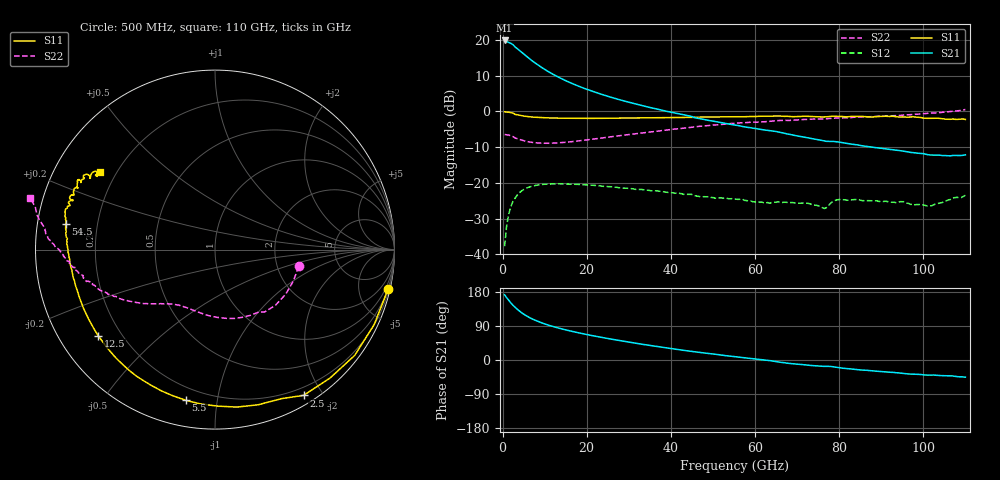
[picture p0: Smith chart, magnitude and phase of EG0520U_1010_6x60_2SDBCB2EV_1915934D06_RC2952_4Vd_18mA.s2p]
!File name = EG0520U_1010_6x60_2SDBCB2EV_1915934D06_RC2952_4Vd_18mA.s2p
!Base file name = EG0520U_1010_6x60_2SDBCB2EV_1915934D06_RC2952
!Date = 8/23/2019
!Time = 1:16 PM
!Test duration(min) = 0.15
!Test = S-Parameters
!MPTS version = 8.91.5
!State File = C:\Data\PNA\20190821205423\S-Parameters_2019-08-23.sta
!Cal File =
!ComputerName = CMPE-LAB-6
!Comments =
!Attenuation = 0
!Z0 = 50
!Input Power(dBm) = -13.00
!Device ID = EG0520U_1010_6x60_2SDBCB2EV
!Row = 29
!Column = 52
!Technology = QPHT09
!Lot/Wafer = 1915934D06
!Gate Size = 360
!Mask = EG0520
!Cal Standards = GaAs BCB
!Cal Kit = EG2306
!Job Number = 20190821205423
!Device Type = FET
!set_Vg(v) = -1.500
!set_Vd(v) = 4.000
!set_Vd(mA) = 18.000
!file_name = EG0520U_1010_6x60_2SDBCB2EV_1915934D06_RC2952_4Vd_18mA.s2p
!Vd(V) = 4.000
!Vd(mA) = 17.894
!Vg(V) = -0.636
!Vg(mA) = -0.009
# GHz  S  DB  R  50
!%	Freq(GHz)  s11(dB)  s11(deg)  s21(dB)  s21(deg)  s12(dB)  s12(deg)  s22(dB)  s22(deg)
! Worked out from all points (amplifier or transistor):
!   220 points, 500 MHz to 110 GHz, reference 50 ohm
!   highest |S21| = 19.9 dB at 500 MHz (marker M1)
!   |S21| within 3 dB of that: start of sweep to 4.23 GHz
!   unconditionally stable (mu >= 1): 34.76 GHz to 101.2 GHz
!   at 18.5 GHz: K = 0.52, MSG = 13.7 dB, |S12| = -20.5 dB
!   at 55.5 GHz: K = 1.48, MAG = 6.3 dB, |S12| = -24.6 dB
!   at 110 GHz: K = -2.49, MSG = 5.7 dB, |S12| = -23.5 dB
!   S11 on the Smith chart (normalised r, x): 500 MHz: 0.42, -8.96; 2.5 GHz: 0.11, -1.77; 5.5 GHz: 0.13, -0.82; 12.5 GHz: 0.12, -0.32; 54.5 GHz: 0.09, +0.08; 110 GHz: 0.14, +0.30
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0.5  -0.09 -12.7  19.89 172.0  -37.73 80.5  -6.45 -11.3
1  -0.17 -25.2  19.59 164.1  -31.91 74.4  -6.55 -21.9
2  -0.35 -48.2  19.07 150.4  -26.58 61.5  -6.79 -42.7
2.5  -0.44 -58.7  18.70 144.3  -25.13 56.0  -7.05 -51.4
3  -0.82 -65.9  18.06 139.0  -24.26 51.7  -7.43 -55.0
4  -1.05 -82.1  17.12 129.4  -22.77 43.3  -7.82 -68.3
4.5  -1.19 -89.0  16.61 125.0  -22.28 39.6  -8.00 -74.3
5.5  -1.36 -100.8  15.63 117.7  -21.59 33.6  -8.35 -84.2
7  -1.55 -114.8  14.24 108.7  -20.95 26.4  -8.65 -95.6
8.5  -1.66 -125.1  12.97 101.5  -20.58 21.1  -8.83 -103.5
10.5  -1.79 -135.7  11.43 93.5  -20.36 15.2  -8.91 -111.9
12.5  -1.85 -143.7  10.10 86.8  -20.28 10.8  -8.84 -117.9
15.5  -1.91 -152.4  8.37 78.2  -20.33 5.8  -8.58 -124.2
19  -1.93 -159.9  6.66 69.5  -20.51 1.0  -8.12 -129.5
27  -1.87 -170.8  3.55 52.8  -21.21 -6.0  -6.90 -138.0
37  -1.73 -179.2  0.59 35.0  -22.28 -9.9  -5.46 -146.6
54.5  -1.48 170.4  -3.66 9.8  -24.43 -11.2  -3.37 -160.5
55.5  -1.49 169.7  -3.85 8.4  -24.57 -11.1  -3.29 -161.2
73.5  -1.42 161.3  -7.60 -14.7  -26.07 -12.8  -2.12 -171.5
92  -1.40 152.9  -10.62 -32.3  -25.23 -20.8  -1.24 -179.8
102  -1.91 149.6  -12.21 -39.9  -26.41 -18.6  -0.45 173.8
110  -2.23 146.1  -12.15 -45.3  -23.48 -19.5  0.57 164.4
